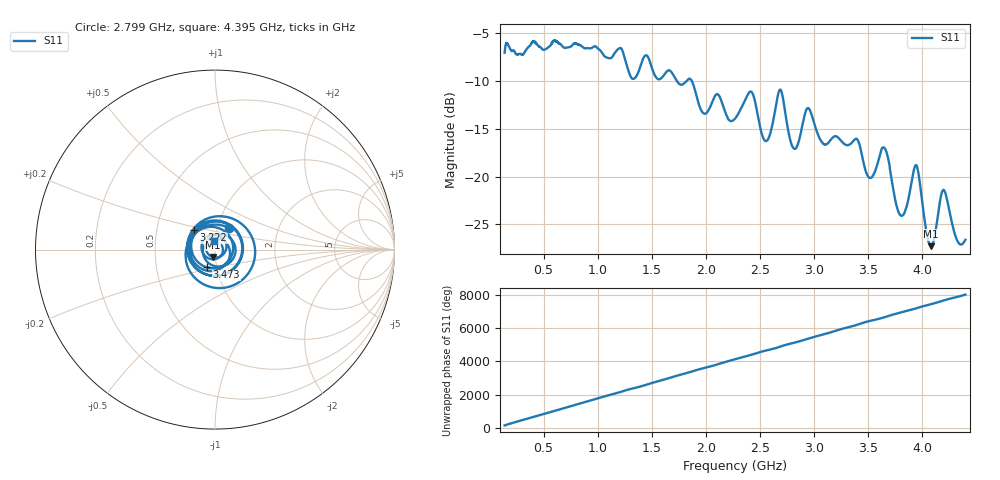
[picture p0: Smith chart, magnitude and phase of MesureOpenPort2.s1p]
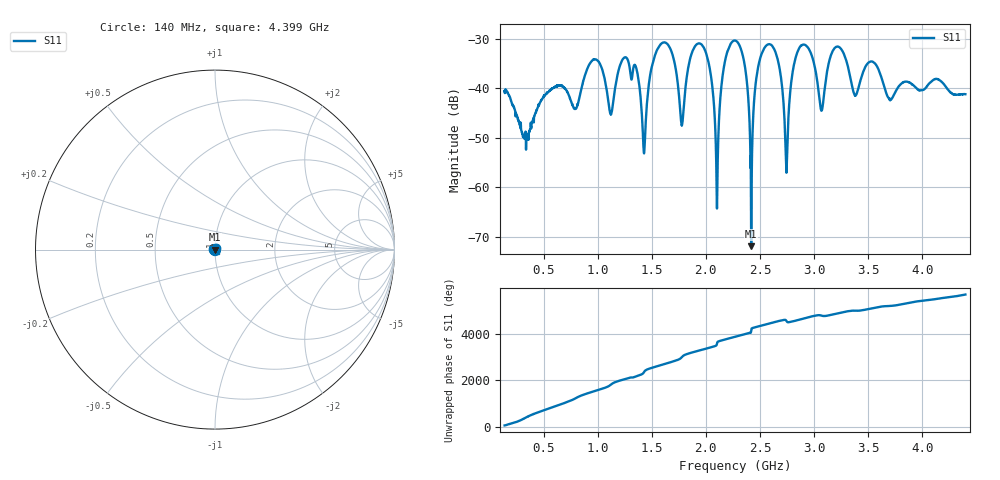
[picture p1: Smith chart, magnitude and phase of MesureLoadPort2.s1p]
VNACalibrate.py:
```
import skrf as rf
import pylab as pl
import numpy as np
from skrf.calibration import OnePort

## created necessary data for Calibration class
MeasurePath = 'measured'

## create a Calibration instance
def OnePortCreatIdealFile(filePath, F_start, F_end, F_step):
    IDEAL_FILE_NAME = ['Short.s1p', 'Open.s1p', 'Load.s1p']
    for FileName in IDEAL_FILE_NAME:
        IlealList = ['# MHz S MA R 50.0\n']
        FreqRangList = np.arange(F_start, F_end, F_step)
        File = open(filePath+ 'ideal/' + FileName, 'w')
        if(FileName is 'Load.s1p'):
            Image = 0
            Phase = 0
        elif (FileName is 'Short.s1p'):
            Image = 1
            Phase = 180
        elif (FileName is 'Open.s1p'):
            Image = 1
            Phase = 0
        File.write(IlealList[0])
        for Fre in FreqRangList:
            #IlealList.append('%.4f   %.8f   %.4f \n'%(Fre ,Image, Phase ) )
            File.write('%.4f   %.8f   %.4f \n'%(Fre ,Image, Phase ))
        File.close()

#creat two port ideal file
def TwoPortCreatIdealFile(filePath, F_start, F_end, F_step):
    IDEAL_FILE_NAME = ['thru.s2p','short, short.s2p', 'open, open.s2p', 'load, load.s2p']

    #   [ MagS11, AngS11, MagS21, AngS21, MagS12, AngS12, MagS22, AngS22]
    MagAng = [ 0,0,  0,0,  0,0,  0,0 ]
    for FileName in IDEAL_FILE_NAME:
        IlealList = ['# MHz S MA R 50.0\n']
        FreqRangList = np.arange(F_start, F_end, F_step)
        File = open(filePath + FileName, 'w')
        if(FileName is 'thru.s2p'):
            MagAng = [ 0,0,  0,0,  0,0,  0,0 ]
        elif (FileName is 'short, short.s2p'):
            MagAng = [0, 0, 0, 0, 0, 0, 0, 0]
        elif (FileName is 'open, open.s2p'):
            MagAng = [0, 0, 0, 0, 0, 0, 0, 0]
        elif (FileName is 'load, load.s2p'):
            MagAng = [0, 0, 0, 0, 0, 0, 0, 0]

        File.write(IlealList[0])
        for Fre in FreqRangList:
            #IlealList.append('%.4f   %.8f   %.4f \n'%(Fre ,Image, Phase ) )
            File.write('%.4f   %.8f   %.4f    %.8f   %.4f    %.8f   %.4f    %.8f   %.4f \n' % ((Fre, MagAng[0:]))) #,  MagAng[1],  MagAng[2],  MagAng[3],  MagAng[4],  MagAng[5],  MagAng[6],  MagAng[7])))
        File.close()

def OnePortCreatMesureFile(filePath, F_start, F_end, F_step, Port):

    IlealList = ['! %d %d %d\n'%(F_start, F_end, F_step)+'# MHz S MA R 50.0\n']
    if (Port == [2, 2]):
        print("Port2 Selected")
        MESURE_FILE_NAME = ['MesureShortPort2.s1p', 'MesureOpenPort2.s1p', 'MesureLoadPort2.s1p']
        InfoFile = open(filePath + 'InfoPort2.txt', 'r')
    else:
        MESURE_FILE_NAME = ['MesureShort.s1p', 'MesureOpen.s1p', 'MesureLoad.s1p']
        InfoFile = open(filePath + 'Info.txt', 'r')
    #读取设置文件

    S = InfoFile.readline()
    Str = '%d %d %d' % (F_start, F_end, F_step)
    print(S[0:-1])
    if(S[0:-1] == Str):
        InfoFile.close()
        print('file has been!')
        return

    #创建Ideal 文件
    OnePortCreatIdealFile( filePath, F_start, F_end, F_step)

    for FileName in MESURE_FILE_NAME:
        MesureFile = open(filePath + FileName, 'r')
        TempMesureFile = open(filePath + 'Temp' + FileName, 'w+')

        TempMesureFile.write(IlealList[0])
        FreqRangList = np.arange(F_start, F_end, F_step)
        MesureLineStart = F_start - 140 + 3 # 140  是起始频率, 4400M 结束频率

        AllFile = MesureFile.readlines()
        #print(AllFile)
        for req in FreqRangList:
            #print(MesureLineStart)
            TempMesureFile.write(AllFile[MesureLineStart])
            #print(S[MesureLineStart])
            MesureLineStart  =  MesureLineStart + F_step
            #print(MesureLineStart , F_step)

        TempMesureFile.close()
        MesureFile.close()

    # 保存好信息 表示已经生成过mesure 文件
    if (Port == [2, 2]):
        InfoFile = open(filePath + 'InfoPort2.txt', 'w')
        InfoFile.write('%d %d %d\n'%(F_start, F_end, F_step))
        InfoFile.close()
    else:
        InfoFile = open(filePath + 'Info.txt', 'w')
        InfoFile.write('%d %d %d\n'%(F_start, F_end, F_step))
        InfoFile.close()
    #return

## run, and apply calibration to a DUT
def Cal_Display(fileName , PortNum, Port):
        # a list of Network types, holding 'ideal' responses

        IdealShort = rf.Network(MeasurePath + '/ideal/Short.s1p')
        IdealOpen  = rf.Network(MeasurePath + '/ideal/Open.s1p')
        IdealLoad  = rf.Network(MeasurePath + '/ideal/Load.s1p')


        # a list of Network types, holding 'measured' responses




        if(PortNum  == 'OnePort' ):
            my_ideals   = [IdealShort, IdealOpen ,IdealLoad]
            if(Port == [2,2]):
                print("Port2 Selected")
                my_measured = [ \
                    rf.Network(MeasurePath + '/TempMesureShortPort2.s1p'),
                    rf.Network(MeasurePath + '/TempMesureOpenPort2.s1p'),
                    rf.Network(MeasurePath + '/TempMesureLoadPort2.s1p'),]
            else:
                print("Port1 Selected")
                my_measured = [ \
                rf.Network(MeasurePath + '/TempMesureShort.s1p'),
                rf.Network(MeasurePath + '/TempMesureOpen.s1p'),
                rf.Network(MeasurePath + '/TempMesureLoad.s1p'),]
            cal = rf.OnePort( \
                ideals=my_ideals,
                measured=my_measured,
            )
        else:  # PortNum = TwoPort
            freqs =  IdealShort.f
            #print(freqs)
            through_delay = 51.1e-12
            d = 2 * np.pi * through_delay
            through_s = [[[0, np.exp(-1j * d * f)], [np.exp(-1j * d * f), 0]] for f in freqs]
            through_i = rf.Network( s=through_s, f= freqs, f_unit='Hz' )
            #print(through_i)
            my_ideals   = [
                rf.two_port_reflect( IdealShort, IdealShort ),
                rf.two_port_reflect( IdealOpen, IdealOpen ),
                rf.two_port_reflect( IdealLoad, IdealLoad ),
                through_i , ]
            my_measured = [ \
                rf.two_port_reflect( rf.Network(MeasurePath + '/TempMesureShort.s1p'), rf.Network(MeasurePath + '/TempMesureShortPort2.s1p') ),
                rf.two_port_reflect( rf.Network(MeasurePath + '/TempMesureOpen.s1p'), rf.Network(MeasurePath + '/TempMesureOpenPort2.s1p' ) ),
                rf.two_port_reflect( rf.Network(MeasurePath + '/TempMesureLoad.s1p'), rf.Network(MeasurePath + '/TempMesureLoadPort2.s1p' ) ),
                rf.Network(MeasurePath + '/Mesurethru.s2p'),]

            # SOLT is  12-term error model
            cal = rf.TwelveTerm(\
                ideals=my_ideals,
                measured=my_measured,
                n_thrus=1,
                isolation=rf.two_port_reflect(rf.Network(MeasurePath + '/TempMesureLoad.s1p'), rf.Network(MeasurePath + '/TempMesureLoadPort2.s1p' )  ),
            )


        # run calibration algorithm
        cal.run()

        # apply it to a dut
        dut = rf.Network(fileName)
        dut_caled = cal.apply_cal(dut)
        dut_caled.name =  dut.name + 'Corrected'
        #dut_caled.plot_s_db(m=0,n=1)
        #dut_caled.plot_s_db(m=1, n=0)
        dut_caled.plot_s_db()
        # plot results
        pl.yticks(np.arange(-80, 20, 10))
        pl.grid(axis='y', linestyle='--')
        pl.show()
        #“” save results
        dut_caled.write_touchstone()
        dut_caled.plot_s_deg()
        pl.show()
        dut_caled.plot_s_smith(m=0,n=0)
        pl.show()
if __name__ == '__main__':
    OnePortCreatMesureFile('measured/', 2000, 3000, 10, 'OnePort' )
    Cal_Display('MesureOut.s2p', 'TwoPort',[1,1])
```
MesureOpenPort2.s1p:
! 140 4400 1
# MHz S MA R 50.0
!freq ReS11 ImS11
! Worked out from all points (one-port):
!   4260 points, 140 MHz to 4.399 GHz, reference 50 ohm
!   lowest |S11| = -27.3 dB at 4.083 GHz (marker M1), VSWR 1.09, Z = 48.5 - j4 ohm
!   |S11| at or under -10 dB: 1.731 GHz to 1.825 GHz (94.36 MHz wide, 5.31 % of centre); 1.869 GHz to end of sweep
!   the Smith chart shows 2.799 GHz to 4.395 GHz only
!   S11 on the Smith chart (normalised r, x): 2.799 GHz: 1.14, +0.28; 3.222 GHz: 0.78, +0.18; 3.473 GHz: 0.90, -0.18; 4.395 GHz: 0.98, +0.09
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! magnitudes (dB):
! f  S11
! 140 MHz  -7.1
! 1.56 GHz  -9.9
! 2.554 GHz  -16.3
! 2.689 GHz  -10.9
! 2.799 GHz  -16.8
! 2.98 GHz  -13.6
! 3.222 GHz  -15.9
! 3.473 GHz  -19.2
! 3.81 GHz  -24.1
! 3.946 GHz  -18.8
! 4.083 GHz  -27.3
! 4.196 GHz  -21.4
! 4.395 GHz  -26.7
! 4.399 GHz  -26.6
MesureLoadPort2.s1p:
! 140 4400 1
# MHz S MA R 50.0
!freq ReS11 ImS11
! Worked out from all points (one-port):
!   4260 points, 140 MHz to 4.399 GHz, reference 50 ohm
!   lowest |S11| = -71.9 dB at 2.419 GHz (marker M1), VSWR 1.00, Z = 50 + j0.005 ohm
!   |S11| at or under -10 dB: start of sweep to end of sweep
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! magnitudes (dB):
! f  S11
! 140 MHz  -40.6
! 337 MHz  -50.3
! 1.258 GHz  -33.8
! 1.429 GHz  -53.2
! 1.56 GHz  -31.9
! 1.778 GHz  -47.4
! 1.978 GHz  -31.7
! 2.102 GHz  -63.8
! 2.29 GHz  -30.7
! 2.419 GHz  -71.9
! 2.543 GHz  -31.8
! 2.744 GHz  -57.0
! 2.98 GHz  -33.5
! 4.399 GHz  -41.2
